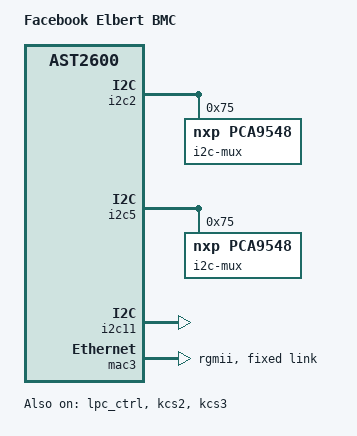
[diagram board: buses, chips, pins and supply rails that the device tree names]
// SPDX-License-Identifier: GPL-2.0+
// Copyright (c) 2020 Facebook Inc.

/dts-v1/;

#include "ast2600-facebook-netbmc-common.dtsi"

/ {
	model = "Facebook Elbert BMC";
	compatible = "facebook,elbert-bmc", "aspeed,ast2600";

	aliases {
		serial0 = &uart5;
		serial1 = &uart1;
		serial2 = &uart2;
		serial3 = &uart3;

		/*
		 * 8 child channels of PCA9548 2-0075.
		 */
		i2c16 = &imux16;
		i2c17 = &imux17;
		i2c18 = &imux18;
		i2c19 = &imux19;
		i2c20 = &imux20;
		i2c21 = &imux21;
		i2c22 = &imux22;
		i2c23 = &imux23;

		/*
		 * 8 child channels of PCA9548 5-0075.
		 */
		i2c24 = &imux24;
		i2c25 = &imux25;
		i2c26 = &imux26;
		i2c27 = &imux27;
		i2c28 = &imux28;
		i2c29 = &imux29;
		i2c30 = &imux30;
		i2c31 = &imux31;
	};

	chosen {
		stdout-path = &uart5;
	};

	spi_gpio: spi {
		num-chipselects = <1>;
		cs-gpios = <&gpio0 ASPEED_GPIO(X, 0) GPIO_ACTIVE_LOW>;
	};
};

&lpc_ctrl {
	status = "okay";
};

&kcs2 {
	status = "okay";
	aspeed,lpc-io-reg = <0xca8>;
};

&kcs3 {
	status = "okay";
	aspeed,lpc-io-reg = <0xca2>;
};

&i2c2 {
	i2c-mux@75 {
		compatible = "nxp,pca9548";
		#address-cells = <1>;
		#size-cells = <0>;
		reg = <0x75>;
		i2c-mux-idle-disconnect;

		imux16: i2c@0 {
			#address-cells = <1>;
			#size-cells = <0>;
			reg = <0>;
		};

		imux17: i2c@1 {
			#address-cells = <1>;
			#size-cells = <0>;
			reg = <1>;
		};

		imux18: i2c@2 {
			#address-cells = <1>;
			#size-cells = <0>;
			reg = <2>;
		};

		imux19: i2c@3 {
			#address-cells = <1>;
			#size-cells = <0>;
			reg = <3>;
		};

		imux20: i2c@4 {
			#address-cells = <1>;
			#size-cells = <0>;
			reg = <4>;
		};

		imux21: i2c@5 {
			#address-cells = <1>;
			#size-cells = <0>;
			reg = <5>;
		};

		imux22: i2c@6 {
			#address-cells = <1>;
			#size-cells = <0>;
			reg = <6>;
		};

		imux23: i2c@7 {
			#address-cells = <1>;
			#size-cells = <0>;
			reg = <7>;
		};
	};
};

&i2c5 {
	i2c-mux@75 {
		compatible = "nxp,pca9548";
		#address-cells = <1>;
		#size-cells = <0>;
		reg = <0x75>;
		i2c-mux-idle-disconnect;

		imux24: i2c@0 {
			#address-cells = <1>;
			#size-cells = <0>;
			reg = <0>;
		};

		imux25: i2c@1 {
			#address-cells = <1>;
			#size-cells = <0>;
			reg = <1>;
		};

		imux26: i2c@2 {
			#address-cells = <1>;
			#size-cells = <0>;
			reg = <2>;
		};

		imux27: i2c@3 {
			#address-cells = <1>;
			#size-cells = <0>;
			reg = <3>;
		};

		imux28: i2c@4 {
			#address-cells = <1>;
			#size-cells = <0>;
			reg = <4>;
		};

		imux29: i2c@5 {
			#address-cells = <1>;
			#size-cells = <0>;
			reg = <5>;
		};

		imux30: i2c@6 {
			#address-cells = <1>;
			#size-cells = <0>;
			reg = <6>;
		};

		imux31: i2c@7 {
			#address-cells = <1>;
			#size-cells = <0>;
			reg = <7>;
		};
	};
};

&i2c11 {
	status = "okay";
};

/*
 * BMC's "mac3" controller is connected to BCM53134P's IMP_RGMII port
 * directly (fixed link, no PHY in between).
 * Note: BMC's "mdio0" controller is connected to BCM53134P's MDIO
 * interface, and the MDIO channel will be enabled in dts later, when
 * BCM53134 is added to "bcm53xx" DSA driver.
 */
&mac3 {
	status = "okay";
	phy-mode = "rgmii";
	pinctrl-names = "default";
	pinctrl-0 = <&pinctrl_rgmii4_default>;
	fixed-link {
		speed = <1000>;
		full-duplex;
	};
};
